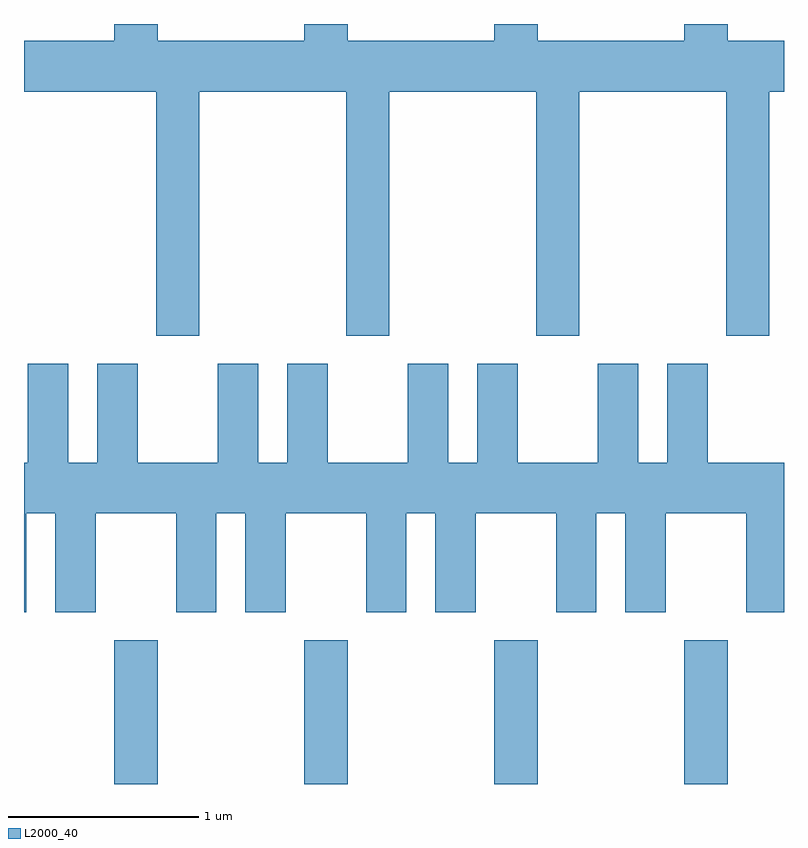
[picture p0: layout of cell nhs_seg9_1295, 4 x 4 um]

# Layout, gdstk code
import gdstk
lib = gdstk.Library(unit=1e-6, precision=1e-09)
def R(c, l, rs):  # rectangles x0, y0, x1, y1
    for r in rs: c.add(gdstk.rectangle(r[:2], r[2:], *l))
def A(c, l, x, y, w, h, nx, ny, dx, dy):  # array of equal rectangles
    R(c, l, [(x+i*dx, y+j*dy, x+i*dx+w, y+j*dy+h) for i in range(nx) for j in range(ny)])
def P(c, l, *ps):  # polygons
    for p in ps: c.add(gdstk.Polygon(p, *l))
L2000_40 = (2000, 40)

nhs_seg9_1295 = lib.new_cell('nhs_seg9_1295')
A(nhs_seg9_1295, L2000_40, 224.086, 1950.432, 0.228, 0.757, 4, 1, 1, 0)
P(nhs_seg9_1295, L2000_40, [(224.534,1954.076),(225.306,1954.076),(225.306,1952.791),(225.534,1952.791),(225.534,1954.076),(226.306,1954.076),(226.306,1952.791),(226.534,1952.791),(226.534,1954.076),(227.306,1954.076),(227.306,1952.791),(227.534,1952.791),(227.534,1954.076),(227.611,1954.076),(227.611,1954.344),(227.314,1954.344),(227.314,1954.432),(227.086,1954.432),(227.086,1954.344),(226.314,1954.344),(226.314,1954.432),(226.086,1954.432),(226.086,1954.344),(225.314,1954.344),(225.314,1954.432),(225.086,1954.432),(225.086,1954.344),(224.314,1954.344),(224.314,1954.432),(224.086,1954.432),(224.086,1954.344),(223.611,1954.344),(223.611,1954.076),(224.306,1954.076),(224.306,1952.791),(224.534,1952.791)],
  [(226.209,1952.644),(225.996,1952.644),(225.996,1952.124),(225.844,1952.124),(225.844,1952.644),(225.631,1952.644),(225.631,1952.124),(225.209,1952.124),(225.209,1952.644),(224.996,1952.644),(224.996,1952.124),(224.844,1952.124),(224.844,1952.644),(224.631,1952.644),(224.631,1952.124),(224.209,1952.124),(224.209,1952.644),(223.996,1952.644),(223.996,1952.124),(223.844,1952.124),(223.844,1952.644),(223.631,1952.644),(223.631,1952.124),(223.611,1952.124),(223.611,1951.336),(223.624,1951.336),(223.624,1951.856),(223.776,1951.856),(223.776,1951.336),(223.989,1951.336),(223.989,1951.856),(224.411,1951.856),(224.411,1951.336),(224.624,1951.336),(224.624,1951.856),(224.776,1951.856),(224.776,1951.336),(224.989,1951.336),(224.989,1951.856),(225.411,1951.856),(225.411,1951.336),(225.624,1951.336),(225.624,1951.856),(225.776,1951.856),(225.776,1951.336),(225.989,1951.336),(225.989,1951.856),(226.411,1951.856),(226.411,1951.336),(226.624,1951.336),(226.624,1951.856),(226.776,1951.856),(226.776,1951.336),(226.989,1951.336),(226.989,1951.856),(227.411,1951.856),(227.411,1951.336),(227.611,1951.336),(227.611,1952.124),(227.209,1952.124),(227.209,1952.644),(226.996,1952.644),(226.996,1952.124),(226.844,1952.124),(226.844,1952.644),(226.631,1952.644),(226.631,1952.124),(226.209,1952.124)])

lib.write_gds('nhs_seg9_1295.gds')
